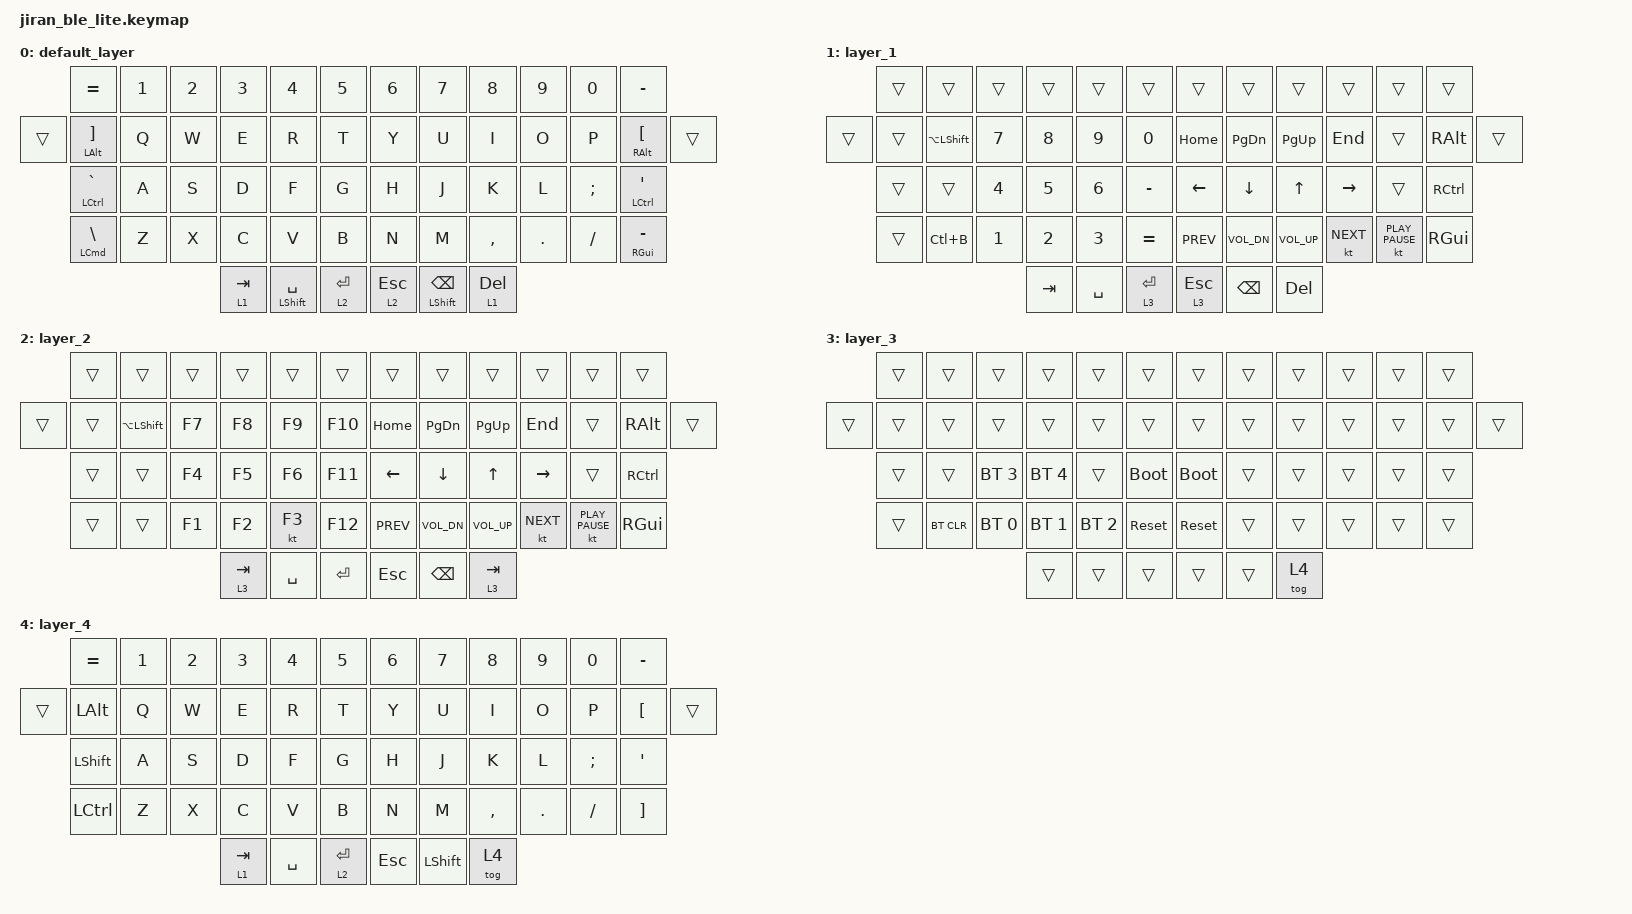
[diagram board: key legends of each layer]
/*
 * Copyright (c) 2021 The ZMK Contributors
 *
 * SPDX-License-Identifier: MIT
 */

#include <behaviors.dtsi>
#include <dt-bindings/zmk/bt.h>
#include <dt-bindings/zmk/keys.h>
#include <dt-bindings/zmk/keys.h>

/ {
    keymap {
        compatible = "zmk,keymap";

        default_layer {
            bindings = <
        &kp EQUAL               &kp N1  &kp N2  &kp N3     &kp N4                &kp N5         &kp N6     &kp N7                    &kp N8        &kp N9   &kp N0    &kp MINUS
&trans  &mt LALT RIGHT_BRACKET  &kp Q   &kp W   &kp E      &kp R                 &kp T          &kp Y      &kp U                     &kp I         &kp O    &kp P     &mt RALT LEFT_BRACKET  &trans
        &mt LCTRL GRAVE         &kp A   &kp S   &kp D      &kp F                 &kp G          &kp H      &kp J                     &kp K         &kp L    &kp SEMI  &mt LCTRL SQT
        &mt LCMD BACKSLASH      &kp Z   &kp X   &kp C      &kp V                 &kp B          &kp N      &kp M                     &kp COMMA     &kp DOT  &kp FSLH  &mt RGUI MINUS
                                                &lt 1 TAB  &mt LEFT_SHIFT SPACE  &lt 2 ENTER    &lt 2 ESC  &mt LEFT_SHIFT BACKSPACE  &lt 1 DELETE
            >;
        };

        layer_1 {
            bindings = <
        &trans  &trans         &trans  &trans   &trans     &trans         &trans      &trans         &trans        &trans      &trans            &trans
&trans  &trans  &kp LA(LSHFT)  &kp N7  &kp N8   &kp N9     &kp N0         &kp HOME    &kp PG_DN      &kp PG_UP     &kp END     &trans            &kp RALT   &trans
        &trans  &trans         &kp N4  &kp N5   &kp N6     &kp MINUS      &kp LEFT    &kp DOWN       &kp UP        &kp RIGHT   &trans            &kp RCTRL
        &trans  &kp LC(B)      &kp N1  &kp N2   &kp N3     &kp EQUAL      &kp K_PREV  &kp C_VOL_DN   &kp C_VOL_UP  &kt K_NEXT  &kt K_PLAY_PAUSE  &kp RGUI
                                       &kp TAB  &kp SPACE  &lt 3 ENTER    &lt 3 ESC   &kp BACKSPACE  &kp DELETE
            >;
        };

        layer_2 {
            bindings = <
        &trans  &trans         &trans  &trans     &trans     &trans       &trans      &trans         &trans        &trans      &trans            &trans
&trans  &trans  &kp LA(LSHFT)  &kp F7  &kp F8     &kp F9     &kp F10      &kp HOME    &kp PG_DN      &kp PG_UP     &kp END     &trans            &kp RALT   &trans
        &trans  &trans         &kp F4  &kp F5     &kp F6     &kp F11      &kp LEFT    &kp DOWN       &kp UP        &kp RIGHT   &trans            &kp RCTRL
        &trans  &trans         &kp F1  &kp F2     &kt F3     &kp F12      &kp K_PREV  &kp C_VOL_DN   &kp C_VOL_UP  &kt K_NEXT  &kt K_PLAY_PAUSE  &kp RGUI
                                       &lt 3 TAB  &kp SPACE  &kp ENTER    &kp ESC     &kp BACKSPACE  &lt 3 TAB
            >;
        };

        layer_3 {
            bindings = <
        &trans  &trans      &trans        &trans        &trans        &trans         &trans       &trans  &trans  &trans  &trans  &trans
&trans  &trans  &trans      &trans        &trans        &trans        &trans         &trans       &trans  &trans  &trans  &trans  &trans  &trans
        &trans  &trans      &bt BT_SEL 3  &bt BT_SEL 4  &trans        &bootloader    &bootloader  &trans  &trans  &trans  &trans  &trans
        &trans  &bt BT_CLR  &bt BT_SEL 0  &bt BT_SEL 1  &bt BT_SEL 2  &sys_reset     &sys_reset   &trans  &trans  &trans  &trans  &trans
                                          &trans        &trans        &trans         &trans       &trans  &tog 4
            >;
        };

        layer_4 {
            bindings = <
        &kp EQUAL  &kp N1  &kp N2  &kp N3     &kp N4     &kp N5         &kp N6   &kp N7     &kp N8     &kp N9   &kp N0    &kp MINUS
&trans  &kp LALT   &kp Q   &kp W   &kp E      &kp R      &kp T          &kp Y    &kp U      &kp I      &kp O    &kp P     &kp LBKT   &trans
        &kp LSHFT  &kp A   &kp S   &kp D      &kp F      &kp G          &kp H    &kp J      &kp K      &kp L    &kp SEMI  &kp APOS
        &kp LCTRL  &kp Z   &kp X   &kp C      &kp V      &kp B          &kp N    &kp M      &kp COMMA  &kp DOT  &kp FSLH  &kp RBKT
                                   &lt 1 TAB  &kp SPACE  &lt 2 ENTER    &kp ESC  &kp LSHFT  &tog 4
            >;
        };
    };
};
